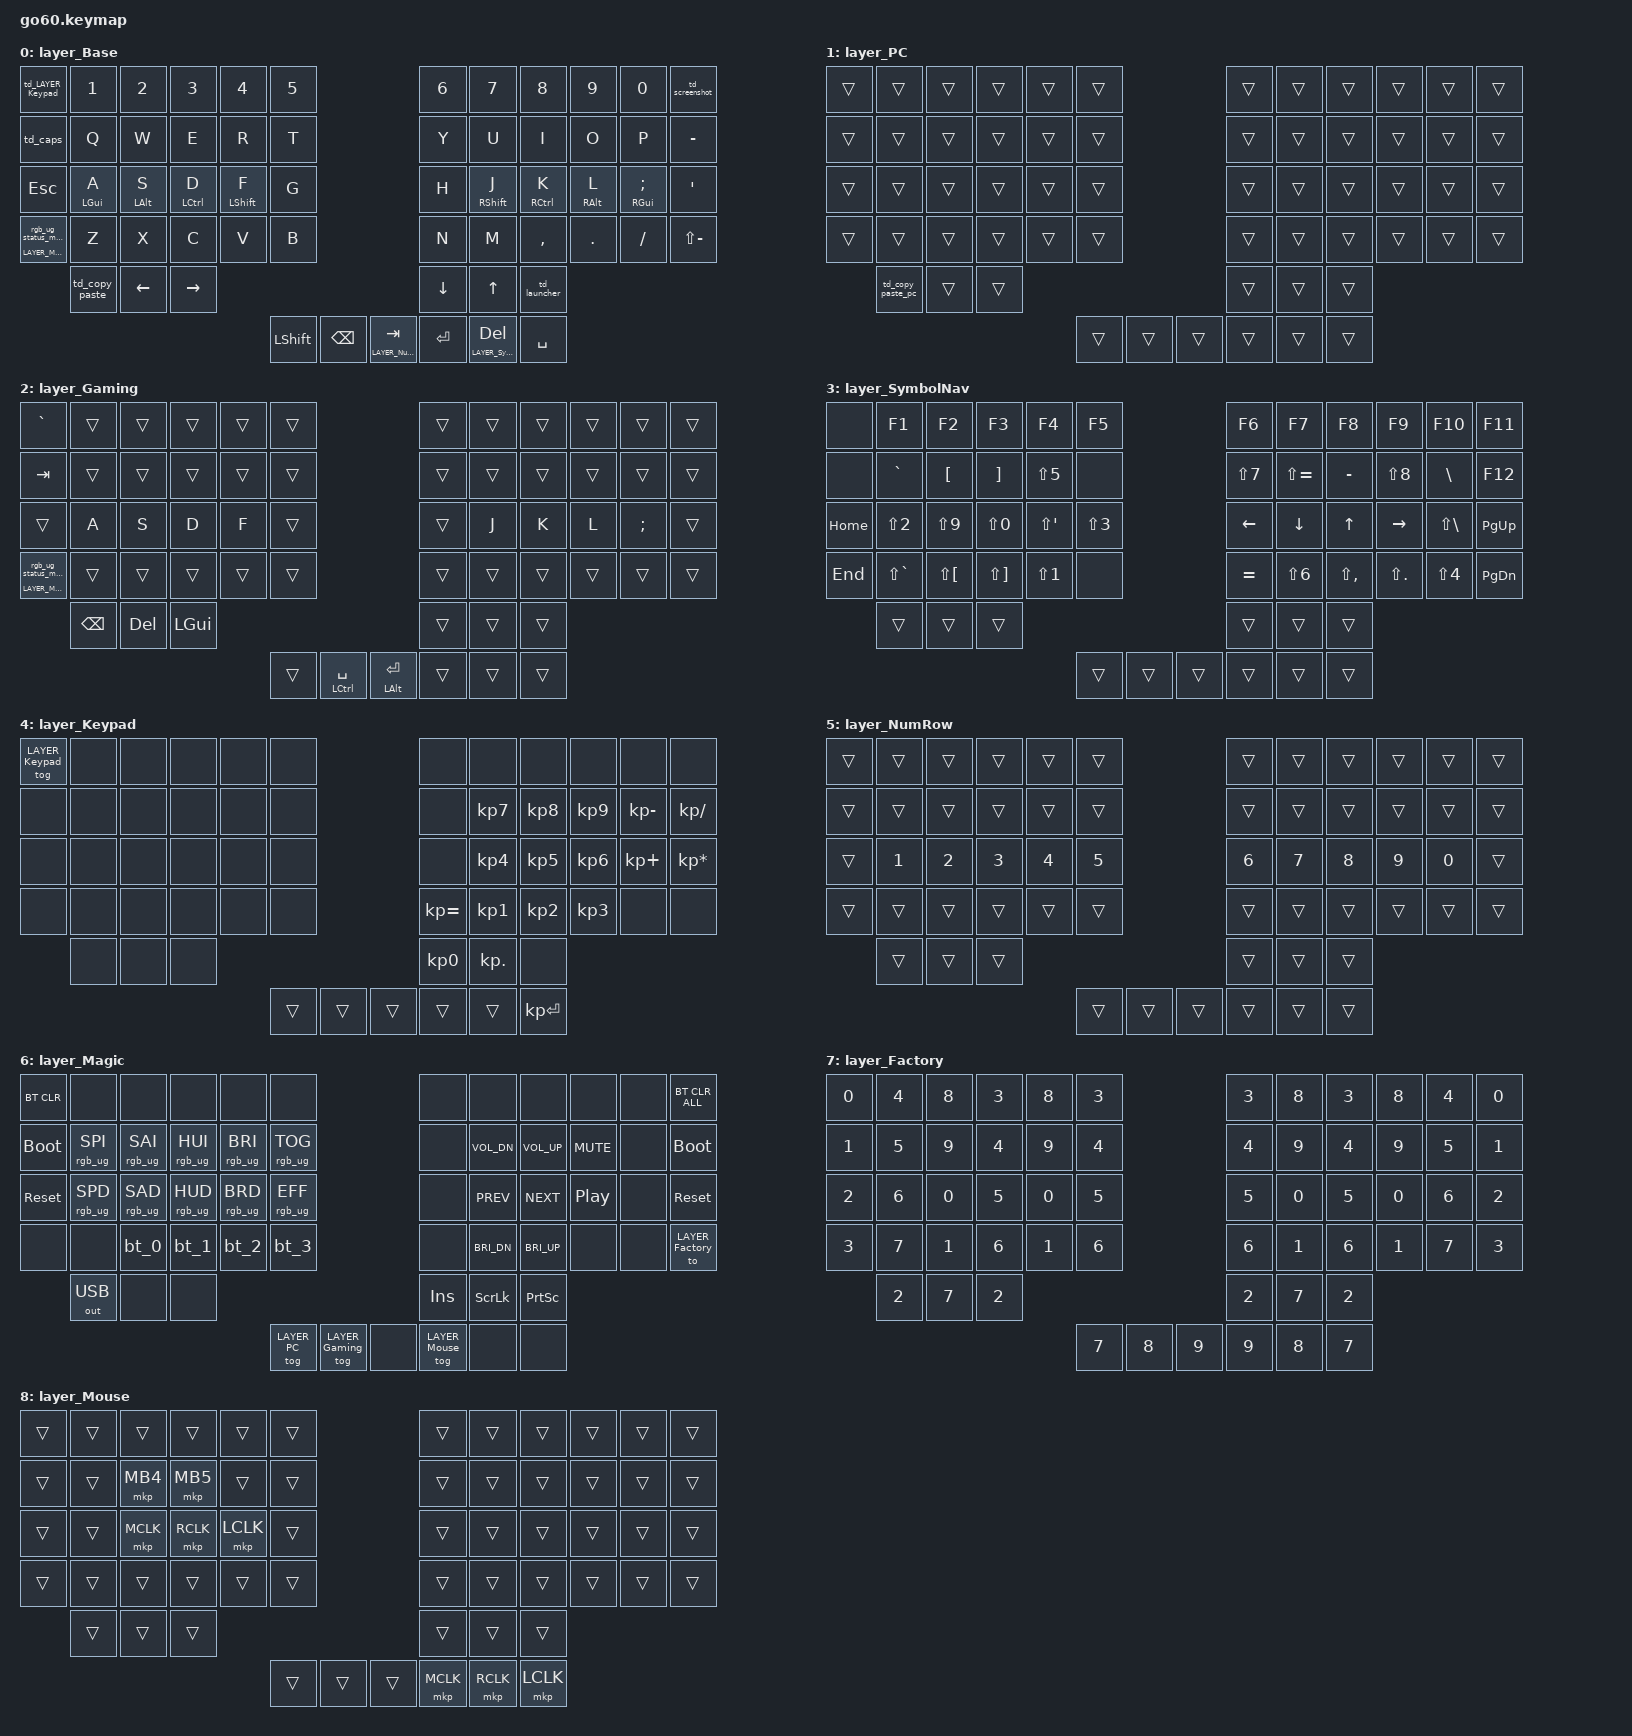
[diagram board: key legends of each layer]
/*
 * Copyright (c) 2020 The ZMK Contributors
 * Copyright (c) 2025 Innaworks Development Limited, trading as MoErgo
 *
 * SPDX-License-Identifier: MIT
 */


/* THIS FILE WAS GENERATED BY GO60 LAYOUT EDITOR
 *
 * Layout: Kelvin's Go60 layout v49
 *
 * This file was generated automatically. You may or may not want to
 * edit it directly.
 */

#include <behaviors.dtsi>

/* Include all behavior includes needed */

#include <dt-bindings/zmk/outputs.h>
#include <dt-bindings/zmk/keys.h>
#include <dt-bindings/zmk/bt.h>
#include <dt-bindings/zmk/rgb.h>

#include <input/processors.dtsi>
#include <dt-bindings/zmk/input_transform.h>
#include <zephyr/dt-bindings/input/input-event-codes.h>

/* On demand includes */
#include <dt-bindings/zmk/input_transform.h>
#include <dt-bindings/zmk/pointing.h>
#include <input/processors.dtsi>

/* Helper Macros, based on https://github.com/urob/zmk-helpers/ */

#pragma once

#define ZMK_HELPER_STRINGIFY(x) #x

// Preprocessor mechanism to overload macros, cf. https://stackoverflow.com/a/27051616/6114651
#define VARGS_(_10, _9, _8, _7, _6, _5, _4, _3, _2, _1, N, ...) N
#define VARGS(...) VARGS_(__VA_ARGS__, 10, 9, 8, 7, 6, 5, 4, 3, 2, 1, 0)
#define CONCAT_(a, b) a##b
#define CONCAT(a, b) CONCAT_(a, b)

#define ZMK_BEHAVIOR_CORE_tap_dance  \
    compatible = "zmk,behavior-tap-dance"; \
    #binding-cells = <0>

#define ZMK_BEHAVIOR(name, type, ...) \
    name: name { \
        ZMK_BEHAVIOR_CORE_ ## type; \
        __VA_ARGS__ \
    };

#define ZMK_TAP_DANCE(name, ...) \
    ZMK_BEHAVIOR(name, tap_dance, __VA_ARGS__)

#define ZMK_TD_LAYER(name, layer) \
    ZMK_TAP_DANCE(name, \
        tapping-term-ms = <200>; \
        bindings = <&mo layer>, <&tog layer>; \
)





/* Key positions */

#define POS_LH_C6R1 0
#define POS_LH_C5R1 1
#define POS_LH_C4R1 2
#define POS_LH_C3R1 3
#define POS_LH_C2R1 4
#define POS_LH_C1R1 5
#define POS_RH_C1R1 6
#define POS_RH_C2R1 7
#define POS_RH_C3R1 8
#define POS_RH_C4R1 9
#define POS_RH_C5R1 10
#define POS_RH_C6R1 11
#define POS_LH_C6R2 12
#define POS_LH_C5R2 13
#define POS_LH_C4R2 14
#define POS_LH_C3R2 15
#define POS_LH_C2R2 16
#define POS_LH_C1R2 17
#define POS_RH_C1R2 18
#define POS_RH_C2R2 19
#define POS_RH_C3R2 20
#define POS_RH_C4R2 21
#define POS_RH_C5R2 22
#define POS_RH_C6R2 23
#define POS_LH_C6R3 24
#define POS_LH_C5R3 25
#define POS_LH_C4R3 26
#define POS_LH_C3R3 27
#define POS_LH_C2R3 28
#define POS_LH_C1R3 29
#define POS_RH_C1R3 30
#define POS_RH_C2R3 31
#define POS_RH_C3R3 32
#define POS_RH_C4R3 33
#define POS_RH_C5R3 34
#define POS_RH_C6R3 35
#define POS_LH_C6R4 36
#define POS_LH_C5R4 37
#define POS_LH_C4R4 38
#define POS_LH_C3R4 39
#define POS_LH_C2R4 40
#define POS_LH_C1R4 41
#define POS_RH_C1R4 42
#define POS_RH_C2R4 43
#define POS_RH_C3R4 44
#define POS_RH_C4R4 45
#define POS_RH_C5R4 46
#define POS_RH_C6R4 47
#define POS_LH_C4R5 48
#define POS_LH_C3R5 49
#define POS_LH_C2R5 50
#define POS_RH_C2R5 51
#define POS_RH_C3R5 52
#define POS_RH_C4R5 53
#define POS_LH_T1 54
#define POS_LH_T2 55
#define POS_LH_T3 56
#define POS_RH_T3 57
#define POS_RH_T2 58
#define POS_RH_T1 59


#define LEFT_HAND_KEYS \
  POS_LH_C1R1 POS_LH_C2R1 POS_LH_C3R1 POS_LH_C4R1 POS_LH_C5R1 POS_LH_C6R1 \
  POS_LH_C1R2 POS_LH_C2R2 POS_LH_C3R2 POS_LH_C4R2 POS_LH_C5R2 POS_LH_C6R2 \
  POS_LH_C1R3 POS_LH_C2R3 POS_LH_C3R3 POS_LH_C4R3 POS_LH_C5R3 POS_LH_C6R3 \
  POS_LH_C1R4 POS_LH_C2R4 POS_LH_C3R4 POS_LH_C4R4 POS_LH_C5R4 POS_LH_C6R4 \
              POS_LH_C2R5 POS_LH_C3R5 POS_LH_C4R5

#define RIGHT_HAND_KEYS \
  POS_RH_C1R1 POS_RH_C2R1 POS_RH_C3R1 POS_RH_C4R1 POS_RH_C5R1 POS_RH_C6R1 \
  POS_RH_C1R2 POS_RH_C2R2 POS_RH_C3R2 POS_RH_C4R2 POS_RH_C5R2 POS_RH_C6R2 \
  POS_RH_C1R3 POS_RH_C2R3 POS_RH_C3R3 POS_RH_C4R3 POS_RH_C5R3 POS_RH_C6R3 \
  POS_RH_C1R4 POS_RH_C2R4 POS_RH_C3R4 POS_RH_C4R4 POS_RH_C5R4 POS_RH_C6R4 \
              POS_RH_C2R5 POS_RH_C3R5 POS_RH_C4R5

#define THUMB_KEYS \
  POS_LH_T1 POS_LH_T2 POS_LH_T3 \
  POS_RH_T1 POS_RH_T2 POS_RH_T3

/* Environment and metadata defines */
#define KB_TYPE_GLOVE_80 1
#define KB_TYPE_GO_60    2

#define KB_TYPE          KB_TYPE_GO_60
#define EDITOR_HOST_OS   'M'

/* Automatically generated layer name defines */
#define LAYER_Base 0
#define LAYER_PC 1
#define LAYER_Gaming 2
#define LAYER_SymbolNav 3
#define LAYER_Keypad 4
#define LAYER_NumRow 5
#define LAYER_Magic 6
#define LAYER_Factory 7
#define LAYER_Mouse 8

/* To deal with the situation where there is no Lower layer, to keep &lower happy */
#ifndef LAYER_Lower
#define LAYER_Lower 0
#endif

/* Generated input processors */
/ {
    input_processors {
        zip_click_to_right_click_mapper: zip_click_to_right_click_mapper {
            compatible = "zmk,input-processor-code-mapper";
            #input-processor-cells = <0>;
            type = <INPUT_EV_KEY>;
            map = <INPUT_BTN_0 INPUT_BTN_1>;
        };

        zip_temp_mouse: zip_temp_mouse {
            compatible = "zmk,input-processor-temp-layer";
            #input-processor-cells = <2>;
            require-prior-idle-ms = <150>;
            excluded-positions = <
                POS_LH_C4R2 POS_LH_C3R2
                POS_LH_C6R3 POS_LH_C5R3 POS_LH_C4R3 POS_LH_C3R3 POS_LH_C2R3
                POS_LH_T1
                POS_RH_T3   POS_RH_T2   POS_RH_T1
            >;
        };
    };
};

/* Custom Device-tree */


/* Input Listeners */
&cirque_rh_listener {
    input-processors = <&zip_temp_mouse LAYER_Mouse 1000>, <&zip_xy_scaler 3 1>;
    layer_SymbolNav {
        layers = <LAYER_SymbolNav>;
        input-processors = <&zip_xy_scaler 9 1>;
    };
};

&cirque_lh_listener {
    input-processors = <&zip_temp_mouse LAYER_Mouse 1000>, <&zip_xy_scaler 1 8>, <&zip_xy_transform INPUT_TRANSFORM_Y_INVERT>, <&zip_xy_to_scroll_mapper>, <&zip_click_to_right_click_mapper>;
    layer_Factory {
        layers = <LAYER_Factory>;
        input-processors = <&zip_xy_scaler 3 1>;
    };
};

/* System behavior and macros */
/ {
    behaviors {
        ZMK_TD_LAYER(lower, LAYER_Lower)
    };
};

/ {
    macros {
        rgb_ug_status_macro: rgb_ug_status_macro {
            label = "RGB_UG_STATUS";
            compatible = "zmk,behavior-macro";
            #binding-cells = <0>;
            bindings
                = <&rgb_ug RGB_STATUS>;
        };
    };
};

/ {
#ifdef BT_DISC_CMD
    behaviors {
        bt_0: bt_0 {
            compatible = "zmk,behavior-tap-dance";
            label = "BT_0";
            #binding-cells = <0>;
            tapping-term-ms = <200>;
            bindings = <&bt_select_0>, <&bt BT_DISC 0>;
        };
        bt_1: bt_1 {
            compatible = "zmk,behavior-tap-dance";
            label = "BT_1";
            #binding-cells = <0>;
            tapping-term-ms = <200>;
            bindings = <&bt_select_1>, <&bt BT_DISC 1>;
        };
        bt_2: bt_2 {
            compatible = "zmk,behavior-tap-dance";
            label = "BT_2";
            #binding-cells = <0>;
            tapping-term-ms = <200>;
            bindings = <&bt_select_2>, <&bt BT_DISC 2>;
        };
        bt_3: bt_3 {
            compatible = "zmk,behavior-tap-dance";
            label = "BT_3";
            #binding-cells = <0>;
            tapping-term-ms = <200>;
            bindings = <&bt_select_3>, <&bt BT_DISC 3>;
        };
    };
    macros {
        bt_select_0: bt_select_0 {
            label = "BT_SELECT_0";
            compatible = "zmk,behavior-macro";
            #binding-cells = <0>;
            bindings
                = <&out OUT_BLE>,
                  <&bt BT_SEL 0>,
                  <&to LAYER_Base>;
        };
        bt_select_1: bt_select_1 {
            label = "BT_SELECT_1";
            compatible = "zmk,behavior-macro";
            #binding-cells = <0>;
            bindings
                = <&out OUT_BLE>,
                  <&bt BT_SEL 1>,
                  <&to LAYER_PC>;
        };
        bt_select_2: bt_select_2 {
            label = "BT_SELECT_2";
            compatible = "zmk,behavior-macro";
            #binding-cells = <0>;
            bindings
                = <&out OUT_BLE>,
                  <&bt BT_SEL 2>;
        };
        bt_select_3: bt_select_3 {
            label = "BT_SELECT_3";
            compatible = "zmk,behavior-macro";
            #binding-cells = <0>;
            bindings
                = <&out OUT_BLE>,
                  <&bt BT_SEL 3>;
        };
    };
#else
    macros {
        bt_0: bt_0 {
            label = "BT_0";
            compatible = "zmk,behavior-macro";
            #binding-cells = <0>;
            bindings
                = <&out OUT_BLE>,
                  <&bt BT_SEL 0>,
                  <&to LAYER_Base>;
        };
        bt_1: bt_1 {
            label = "BT_1";
            compatible = "zmk,behavior-macro";
            #binding-cells = <0>;
            bindings
                = <&out OUT_BLE>,
                  <&bt BT_SEL 1>,
                  <&to LAYER_PC>;
        };
        bt_2: bt_2 {
            label = "BT_2";
            compatible = "zmk,behavior-macro";
            #binding-cells = <0>;
            bindings
                = <&out OUT_BLE>,
                  <&bt BT_SEL 2>;
        };
        bt_3: bt_3 {
            label = "BT_3";
            compatible = "zmk,behavior-macro";
            #binding-cells = <0>;
            bindings
                = <&out OUT_BLE>,
                  <&bt BT_SEL 3>;
        };
    };
#endif
};

/ {
    behaviors {
        magic: magic {
            compatible = "zmk,behavior-hold-tap";
            label = "MAGIC_HOLD_TAP";
            #binding-cells = <2>;
            flavor = "tap-preferred";
            tapping-term-ms = <200>;
            bindings = <&mo>, <&rgb_ug_status_macro>;
        };
    };
};


/* Custom Defined Behaviors */
/ {

};

/* Automatically generated macro definitions */
/ {
    macros {

    };
};

/* Automatically generated behavior definitions */
/ {
    behaviors {
        // home_row_mod_left

        hml: hml {
            compatible = "zmk,behavior-hold-tap";
            #binding-cells = <2>;
            tapping-term-ms = <280>;
            bindings = <&kp>, <&kp>;

            flavor = "balanced";
            quick-tap-ms = <250>;
            require-prior-idle-ms = <150>;
            hold-trigger-key-positions = <RIGHT_HAND_KEYS POS_RH_T1 POS_RH_T2 POS_RH_T3>;
            hold-trigger-on-release;
        };

        // home_row_mod_right

        hmr: hmr {
            compatible = "zmk,behavior-hold-tap";
            #binding-cells = <2>;
            tapping-term-ms = <280>;
            bindings = <&kp>, <&kp>;

            flavor = "balanced";
            quick-tap-ms = <250>;
            require-prior-idle-ms = <150>;
            hold-trigger-key-positions = <LEFT_HAND_KEYS POS_LH_T1 POS_LH_T2 POS_LH_T3>;
            hold-trigger-on-release;
        };

        hold_tap_layer: hold_tap_layer {
            compatible = "zmk,behavior-hold-tap";
            #binding-cells = <2>;
            tapping-term-ms = <200>;
            bindings = <&mo>, <&kp>;

            flavor = "tap-preferred";
            quick-tap-ms = <175>;
        };

        /* @viewer: ⇪ | @badge: TD | @icon: caps | @tooltip: Tap Dance: 1x Caps Word • 2x Caps Lock */
        td_caps: td_caps {
            compatible = "zmk,behavior-tap-dance";
            label = "TD_CAPS";
            #binding-cells = <0>;
            tapping-term-ms = <250>;
            bindings = <&caps_word>, <&kp CAPS>;
        };

        /* @viewer: 🚀 | @badge: TD | @icon: rocket | @tooltip: Tap Dance: 1x Launcher (⌘Space) • 2x ⌘⇧Space */
        td_launcher: td_launcher {
            compatible = "zmk,behavior-tap-dance";
            label = "TD_LAUNCHER";
            #binding-cells = <0>;
            tapping-term-ms = <200>;
            bindings = <&kp LG(SPACE)>, <&kp LG(LS(SPACE))>;
        };

        /* @viewer: 📷 | @badge: TD | @icon: screenshot | @tooltip: Tap Dance: 1x Area (⌘⌥⇧4) • 2x Scrolling/Window (⌘⌥⇧2) • 3x Fullscreen (⌘⌥⇧3) */
        td_screenshot: td_screenshot {
            compatible = "zmk,behavior-tap-dance";
            label = "TD_SCREENSHOT";
            #binding-cells = <0>;
            tapping-term-ms = <250>;
            bindings = <&kp LG(LA(LS(N4)))>, <&kp LG(LA(LS(N2)))>, <&kp LG(LA(LS(N3)))>;
        };

        /* @viewer: 📋 | @badge: TD | @icon: clipboard | @tooltip: Tap Dance: 1x ⌘C (Copy) • 2x ⌘V (Paste) • 3x ⌘⌥V (Clippy) */
        td_copy_paste: td_copy_paste {
            compatible = "zmk,behavior-tap-dance";
            label = "TD_COPY_PASTE";
            #binding-cells = <0>;
            tapping-term-ms = <250>;
            bindings = <&kp LG(C)>, <&kp LG(V)>, <&kp LG(LA(V))>;
        };

        /* @viewer: 📋 | @badge: TD | @icon: clipboard | @tooltip: Tap Dance: 1x Ctrl+C (Copy) • 2x Ctrl+V (Paste) • 3x Win+V (Clipboard) */
        td_copy_paste_pc: td_copy_paste_pc {
            compatible = "zmk,behavior-tap-dance";
            label = "TD_COPY_PASTE_PC";
            #binding-cells = <0>;
            tapping-term-ms = <250>;
            bindings = <&kp LC(C)>, <&kp LC(V)>, <&kp LG(V)>;
        };

        // Layer tap dance behaviors

        ZMK_TD_LAYER(td_LAYER_Keypad, 4)

    };
};

/* Automatically generated combos definitions */


/* Automatically generated keymap */
/ {
    keymap {
        compatible = "zmk,keymap";


        layer_Base {
            bindings = <
     &td_LAYER_Keypad       &kp N1       &kp N2        &kp N3        &kp N4  &kp N5                                                                                            &kp N6        &kp N7        &kp N8       &kp N9          &kp N0   &td_screenshot
             &td_caps        &kp Q        &kp W         &kp E         &kp R   &kp T                                                                                             &kp Y         &kp U         &kp I        &kp O           &kp P          &kp MINUS
              &kp ESC  &hml LGUI A  &hml LALT S  &hml LCTRL D  &hml LSHFT F   &kp G                                                                                             &kp H  &hmr RSHFT J  &hmr RCTRL K  &hmr RALT L  &hmr RGUI SEMI           &kp SQT
 &magic LAYER_Magic 0        &kp Z        &kp X         &kp C         &kp V   &kp B                                                                                             &kp N         &kp M     &kp COMMA      &kp DOT        &kp FSLH     &kp LS(MINUS)
                                 &td_copy_paste      &kp LEFT     &kp RIGHT                                                                                                                &kp DOWN        &kp UP  &td_launcher
                                                                                     &kp LSHFT  &kp BSPC  &lt LAYER_NumRow TAB  &kp RET  &hold_tap_layer LAYER_SymbolNav DEL  &kp SPACE
            >;
        };

        layer_PC {
            bindings = <
 &trans  &trans             &trans     &trans  &trans  &trans                                                  &trans  &trans  &trans         &trans  &trans  &trans
 &trans  &trans             &trans     &trans  &trans  &trans                                                  &trans  &trans  &trans         &trans  &trans  &trans
 &trans  &trans             &trans     &trans  &trans  &trans                                                  &trans  &trans  &trans         &trans  &trans  &trans
 &trans  &trans             &trans     &trans  &trans  &trans                                                  &trans  &trans  &trans         &trans  &trans  &trans
          &td_copy_paste_pc     &trans  &trans                                                                 &trans  &trans  &trans
                                                          &trans  &trans  &trans  &trans  &trans  &trans
            >;
        };

        layer_Gaming {
            bindings = <
&kp GRAVE  &trans  &trans  &trans    &trans  &trans                                                                           &trans  &trans  &trans  &trans    &trans  &trans
 &kp TAB  &trans  &trans  &trans    &trans  &trans                                                                           &trans  &trans  &trans  &trans    &trans  &trans
  &trans   &kp A   &kp S   &kp D     &kp F  &trans                                                                           &trans   &kp J   &kp K   &kp L  &kp SEMI  &trans
&magic LAYER_Magic 0  &trans  &trans  &trans    &trans  &trans                                                                           &trans  &trans  &trans  &trans    &trans  &trans
                &kp BSPC   &kp DEL                  &kp LGUI                                                                         &trans  &trans  &trans
                                                    &trans  &mt LCTRL SPACE  &mt LALT RET  &trans  &trans  &trans
            >;
        };

        layer_SymbolNav {
            bindings = <
      &none         &kp F1        &kp F2        &kp F3       &kp F4      &kp F5                                                     &kp F6         &kp F7         &kp F8       &kp F9       &kp F10   &kp F11
      &none      &kp GRAVE      &kp LBKT      &kp RBKT   &kp LS(N5)       &none                                                 &kp LS(N7)  &kp LS(EQUAL)      &kp MINUS   &kp LS(N8)      &kp BSLH   &kp F12
   &kp HOME     &kp LS(N2)    &kp LS(N9)    &kp LS(N0)  &kp LS(SQT)  &kp LS(N3)                                                   &kp LEFT       &kp DOWN         &kp UP    &kp RIGHT  &kp LS(BSLH) &kp PG_UP
    &kp END  &kp LS(GRAVE)  &kp LS(LBKT)  &kp LS(RBKT)   &kp LS(N1)       &none                                                  &kp EQUAL     &kp LS(N6)  &kp LS(COMMA)  &kp LS(DOT)    &kp LS(N4) &kp PG_DN
                                  &trans        &trans       &trans                                                                                &trans         &trans       &trans
                                                                                 &trans  &trans   &trans  &trans  &trans  &trans
            >;
        };

        layer_Keypad {
            bindings = <
  &tog LAYER_Keypad   &none   &none   &none   &none   &none                                                         &none        &none       &none         &none            &none              &none
  &none   &none   &none   &none   &none   &none                                                     &none        &kp KP_N7   &kp KP_N8     &kp KP_N9        &kp KP_MINUS       &kp KP_SLASH
  &none   &none   &none   &none   &none   &none                                                     &none        &kp KP_N4   &kp KP_N5     &kp KP_N6        &kp KP_PLUS        &kp KP_MULTIPLY
  &none               &none   &none   &none   &none   &none                                         &kp KP_EQUAL &kp KP_N1   &kp KP_N2     &kp KP_N3        &none              &none
                  &none   &none   &none                                                                          &kp KP_N0   &kp KP_DOT    &none
                                                 &trans  &trans  &trans  &trans  &trans        &kp KP_ENTER
            >;
        };

        layer_NumRow {
            bindings = <
 &trans  &trans  &trans  &trans  &trans  &trans                                                  &trans  &trans  &trans  &trans  &trans  &trans
 &trans  &trans  &trans  &trans  &trans  &trans                                                  &trans  &trans  &trans  &trans  &trans  &trans
 &trans  &kp N1  &kp N2  &kp N3  &kp N4  &kp N5                                                  &kp N6  &kp N7  &kp N8  &kp N9  &kp N0  &trans
 &trans  &trans  &trans  &trans  &trans  &trans                                                  &trans  &trans  &trans  &trans  &trans  &trans
                 &trans  &trans  &trans                                                                  &trans  &trans  &trans
                                                 &trans  &trans  &trans  &trans  &trans  &trans
            >;
        };

        layer_Magic {
            bindings = <
  &bt BT_CLR            &none            &none            &none            &none            &none                                                                           &none         &none         &none         &none   &none     &bt BT_CLR_ALL
 &bootloader  &rgb_ug RGB_SPI  &rgb_ug RGB_SAI  &rgb_ug RGB_HUI  &rgb_ug RGB_BRI  &rgb_ug RGB_TOG                                                                           &none  &kp C_VOL_DN  &kp C_VOL_UP    &kp C_MUTE   &none        &bootloader
  &sys_reset  &rgb_ug RGB_SPD  &rgb_ug RGB_SAD  &rgb_ug RGB_HUD  &rgb_ug RGB_BRD  &rgb_ug RGB_EFF                                                                           &none    &kp C_PREV    &kp C_NEXT      &kp C_PP   &none         &sys_reset
       &none            &none            &bt_0            &bt_1            &bt_2            &bt_3                                                                           &none  &kp C_BRI_DN  &kp C_BRI_UP         &none   &none  &to LAYER_Factory
                                  &out OUT_USB            &none            &none                                                                                                        &kp INS      &kp SLCK     &kp PSCRN
                                                                                                   &tog LAYER_PC      &tog LAYER_Gaming   &none   &tog LAYER_Mouse   &none   &none
            >;
        };

        layer_Factory {
            bindings = <
 &kp N0  &kp N4  &kp N8  &kp N3  &kp N8  &kp N3                                                  &kp N3  &kp N8  &kp N3  &kp N8  &kp N4  &kp N0
 &kp N1  &kp N5  &kp N9  &kp N4  &kp N9  &kp N4                                                  &kp N4  &kp N9  &kp N4  &kp N9  &kp N5  &kp N1
 &kp N2  &kp N6  &kp N0  &kp N5  &kp N0  &kp N5                                                  &kp N5  &kp N0  &kp N5  &kp N0  &kp N6  &kp N2
 &kp N3  &kp N7  &kp N1  &kp N6  &kp N1  &kp N6                                                  &kp N6  &kp N1  &kp N6  &kp N1  &kp N7  &kp N3
                 &kp N2  &kp N7  &kp N2                                                                  &kp N2  &kp N7  &kp N2
                                                 &kp N7  &kp N8  &kp N9  &kp N9  &kp N8  &kp N7
            >;
        };

        layer_Mouse {
            bindings = <
 &trans  &trans    &trans     &trans     &trans  &trans                                                  &trans  &trans  &trans  &trans  &trans  &trans
 &trans  &trans  &mkp MB4   &mkp MB5     &trans  &trans                                                  &trans  &trans  &trans  &trans  &trans  &trans
 &trans  &trans &mkp MCLK  &mkp RCLK  &mkp LCLK  &trans                                                  &trans  &trans  &trans  &trans  &trans  &trans
 &trans  &trans    &trans     &trans     &trans  &trans                                                  &trans  &trans  &trans  &trans  &trans  &trans
                   &trans     &trans     &trans                                                                  &trans  &trans  &trans
                                                 &trans  &trans  &trans  &mkp MCLK  &mkp RCLK  &mkp LCLK
            >;
        };

    };
};

/* Per-key RGB Layer Color Helpers */
#define ___ &ug 0x000000
#define RED &ug 0xFF0000  /* Layer Toggles & Activators, System / Lock / Exit */
#define MAG &ug 0xFF00FF  /* Magic Key & System */
#define GLD &ug 0xFFBF00  /* Base Tap Dances & RGB Controls */
#define WHT &ug 0xFFFFFF  /* Regular Symbols, Math Operators, Brackets/Braces, Double Quote, PC Copy/Paste & Keypad */
#define BLU &ug 0x0066FF  /* Modifiers (Home Row Mods, Shift, Ctrl, Alt, GUI) & Connectivity */
#define GRN &ug 0x00FF00  /* Navigation (Vim HJKL Arrows, Home, End, PgUp, PgDn, Mouse Move & Clicks) */
#define YLW &ug 0xFFFF00  /* Numbers (0-9) & Function Keys (F1-F12) */
#define CYN &ug 0x00FFFF  /* Media, Volume & Screen Brightness Controls */
#define NML &ug_nl 0x00FF00 0xFF0000  /* NumLock indicator (Green=ON, Red=OFF) */
#define CPL &ug_cl 0x000000 0xFF0000  /* CapsLock indicator (Off=0x000000, On=Red) */

/ {
    underglow-layer {
        compatible = "zmk,underglow-layer";

#ifdef IS_GO60_RH
        pixel-lookup = <
            POS_RH_T1   POS_RH_T2   POS_RH_T3
            POS_RH_C1R1 POS_RH_C1R2 POS_RH_C1R3 POS_RH_C1R4
            POS_RH_C2R1 POS_RH_C2R2 POS_RH_C2R3 POS_RH_C2R4 POS_RH_C2R5
            POS_RH_C3R1 POS_RH_C3R2 POS_RH_C3R3 POS_RH_C3R4 POS_RH_C3R5
            POS_RH_C4R1 POS_RH_C4R2 POS_RH_C4R3 POS_RH_C4R4 POS_RH_C4R5
            POS_RH_C5R1 POS_RH_C5R2 POS_RH_C5R3 POS_RH_C5R4
            POS_RH_C6R1 POS_RH_C6R2 POS_RH_C6R3 POS_RH_C6R4
        >;
#else
        pixel-lookup = <
            POS_LH_T1   POS_LH_T2   POS_LH_T3
            POS_LH_C1R1 POS_LH_C1R2 POS_LH_C1R3 POS_LH_C1R4
            POS_LH_C2R1 POS_LH_C2R2 POS_LH_C2R3 POS_LH_C2R4 POS_LH_C2R5
            POS_LH_C3R1 POS_LH_C3R2 POS_LH_C3R3 POS_LH_C3R4 POS_LH_C3R5
            POS_LH_C4R1 POS_LH_C4R2 POS_LH_C4R3 POS_LH_C4R4 POS_LH_C4R5
            POS_LH_C5R1 POS_LH_C5R2 POS_LH_C5R3 POS_LH_C5R4
            POS_LH_C6R1 POS_LH_C6R2 POS_LH_C6R3 POS_LH_C6R4
        >;
#endif

        /* Base layer: Special keys highlighted for 3s then fades out */
        layer_Base {
            layer-id = <LAYER_Base>;
            fade-delay = <3>;
            bindings = <
 RED  ___  ___  ___  ___  ___                                                  ___  ___  ___  ___  ___  GLD
 GLD  ___  ___  ___  ___  ___                                                  ___  ___  ___  ___  ___  ___
 ___  BLU  BLU  BLU  BLU  ___                                                  ___  BLU  BLU  BLU  BLU  ___
 MAG  ___  ___  ___  ___  ___                                                  ___  ___  ___  ___  ___  ___
           GLD  ___  ___                                                            ___  ___  GLD
                                               BLU  ___  RED  ___  RED  ___
            >;
        };

        /* Permanent layer: lights up for 3s when toggled on, then fades out */
        layer_PC {
            layer-id = <LAYER_PC>;
            fade-delay = <3>;
            bindings = <
 RED  ___  ___  ___  ___  ___                                                  ___  ___  ___  ___  ___  GLD
 GLD  ___  ___  ___  ___  ___                                                  ___  ___  ___  ___  ___  ___
 ___  BLU  BLU  BLU  BLU  ___                                                  ___  BLU  BLU  BLU  BLU  ___
 MAG  ___  ___  ___  ___  ___                                                  ___  ___  ___  ___  ___  ___
           WHT  ___  ___                                                            ___  ___  GLD
                                               BLU  ___  RED  ___  RED  ___
            >;
        };

        /* Permanent layer: lights up for 3s when toggled on, then fades out */
        layer_Gaming {
            layer-id = <LAYER_Gaming>;
            fade-delay = <3>;
            bindings = <
 ___  ___  ___  ___  ___  ___                                                  ___  ___  ___  ___  ___  ___
 ___  ___  ___  ___  ___  ___                                                  ___  ___  ___  ___  ___  ___
 ___  ___  ___  ___  ___  ___                                                  ___  ___  ___  ___  ___  ___
 MAG  ___  ___  ___  ___  ___                                                  ___  ___  ___  ___  ___  ___
           ___  ___  BLU                                                            ___  ___  ___
                                               BLU  BLU  BLU  ___  ___  ___
            >;
        };

        /* Momentary layer: stays lit while held */
        layer_SymbolNav {
            layer-id = <LAYER_SymbolNav>;
            bindings = <
 ___  YLW  YLW  YLW  YLW  YLW                                                  YLW  YLW  YLW  YLW  YLW  YLW
 ___  WHT  WHT  WHT  WHT  ___                                                  WHT  WHT  WHT  WHT  WHT  YLW
 GRN  WHT  WHT  WHT  WHT  WHT                                                  GRN  GRN  GRN  GRN  WHT  GRN
 GRN  WHT  WHT  WHT  WHT  ___                                                  WHT  WHT  WHT  WHT  WHT  GRN
           ___  ___  ___                                                            ___  ___  ___
                                               ___  ___  ___  ___  ___  ___
            >;
        };

        /* Hybrid layer: stays lit while active (both held and double-tap toggled) */
        layer_Keypad {
            layer-id = <LAYER_Keypad>;
            bindings = <
 RED  ___  ___  ___  ___  ___                                                  ___  ___  ___  ___  ___  ___
 ___  ___  ___  ___  ___  ___                                                  ___  YLW  YLW  YLW  WHT  WHT
 ___  ___  ___  ___  ___  ___                                                  ___  YLW  YLW  YLW  WHT  WHT
 ___  ___  ___  ___  ___  ___                                                  WHT  YLW  YLW  YLW  ___  ___
           ___  ___  ___                                                            YLW  WHT  ___
                                               ___  ___  ___  ___  ___  WHT
            >;
        };

        /* Momentary layer: stays lit while held */
        layer_NumRow {
            layer-id = <LAYER_NumRow>;
            bindings = <
 ___  ___  ___  ___  ___  ___                                                  ___  ___  ___  ___  ___  ___
 ___  ___  ___  ___  ___  ___                                                  ___  ___  ___  ___  ___  ___
 ___  YLW  YLW  YLW  YLW  YLW                                                  YLW  YLW  YLW  YLW  YLW  ___
 ___  ___  ___  ___  ___  ___                                                  ___  ___  ___  ___  ___  ___
           ___  ___  ___                                                            ___  ___  ___
                                               ___  ___  ___  ___  ___  ___
            >;
        };

        /* Momentary layer: stays lit while held */
        layer_Magic {
            layer-id = <LAYER_Magic>;
            bindings = <
 RED  ___  ___  ___  ___  ___                                                  ___  ___  ___  ___  ___  RED
 RED  GLD  GLD  GLD  GLD  GLD                                                  ___  CYN  CYN  CYN  ___  RED
 RED  GLD  GLD  GLD  GLD  GLD                                                  ___  CYN  CYN  CYN  ___  RED
 ___  ___  BLU  BLU  BLU  BLU                                                  ___  CYN  CYN  ___  ___  RED
           BLU  ___  ___                                                            RED  RED  RED
                                               RED  RED  ___  RED  ___  ___
            >;
        };

        /* Temporary / auto layer: stays lit while active */
        layer_Mouse {
            layer-id = <LAYER_Mouse>;
            bindings = <
 ___  ___  ___  ___  ___  ___                                                  ___  ___  ___  ___  ___  ___
 ___  ___  GRN  GRN  ___  ___                                                  ___  ___  ___  ___  ___  ___
 ___  ___  GRN  GRN  GRN  ___                                                  ___  ___  ___  ___  ___  ___
 ___  ___  ___  ___  ___  ___                                                  ___  ___  ___  ___  ___  ___
           ___  ___  ___                                                            ___  ___  ___
                                               ___  ___  ___  GRN  GRN  GRN
            >;
        };
    };
};
